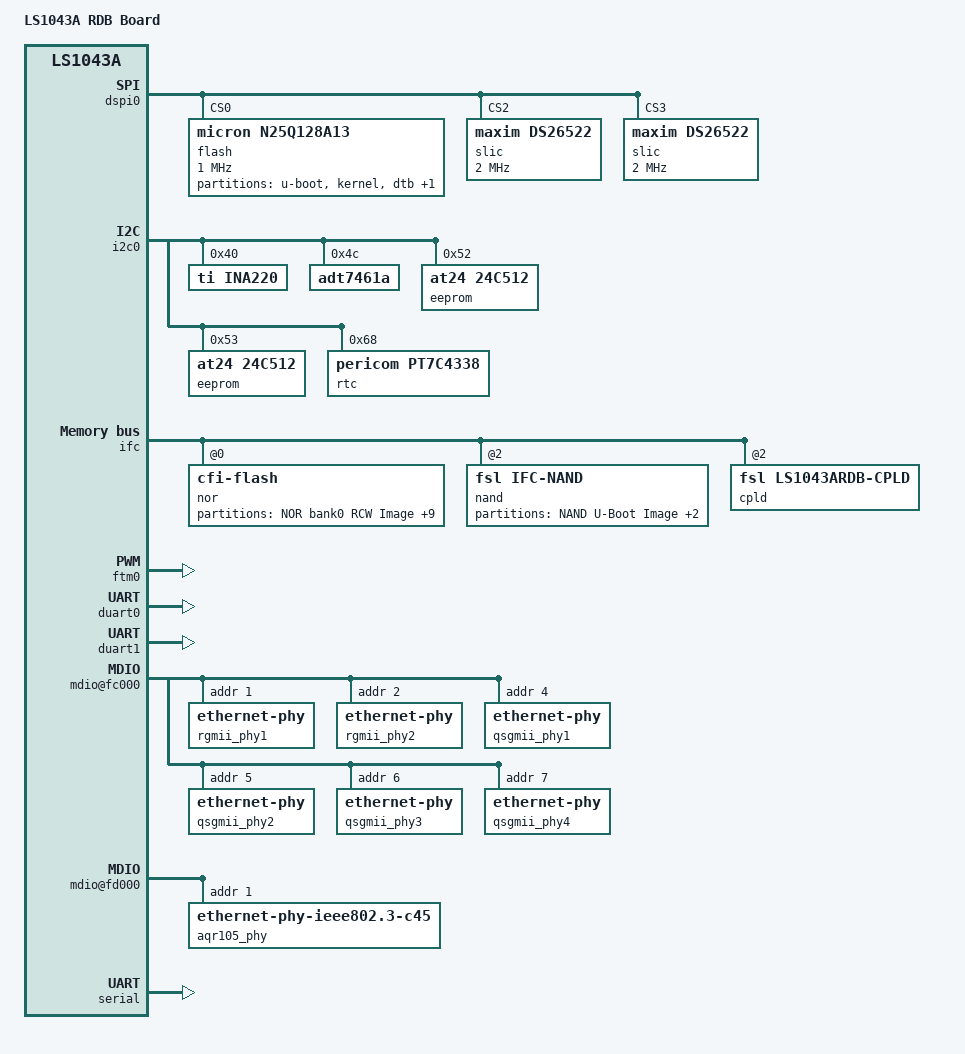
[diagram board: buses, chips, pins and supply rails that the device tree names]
/*
 * Device Tree Include file for Freescale Layerscape-1043A family SoC.
 *
 * Copyright (C) 2014-2015, Freescale Semiconductor
 *
 * Mingkai Hu <Mingkai.hu@freescale.com>
 *
 * This file is licensed under the terms of the GNU General Public
 * License version 2.  This program is licensed "as is" without any
 * warranty of any kind, whether express or implied.
 */

/dts-v1/;
/include/ "fsl-ls1043a-uefi.dtsi"

/ {
	model = "LS1043A RDB Board";

	aliases {
		ethernet0 = &fm1mac1;
		ethernet1 = &fm1mac2;
		ethernet2 = &fm1mac3;
		ethernet3 = &fm1mac4;
		ethernet4 = &fm1mac5;
		ethernet5 = &fm1mac6;
		ethernet6 = &fm1mac9;
		crypto = &crypto;
	};

};

&dspi0 {
	bus-num = <0>;
	status = "okay";

	flash@0 {
		#address-cells = <1>;
		#size-cells = <1>;
		compatible = "micron,n25q128a13";  /* 16MB */
		reg = <0>;
		spi-max-frequency = <1000000>; /* input clock */
		partition@u-boot {
			label = "u-boot";
			reg = <0x00000000 0x00100000>;
			read-only;
		};
		partition@kernel {
			label = "kernel";
			reg = <0x00100000 0x00500000>;
			read-only;
		};
		partition@dtb {
			label = "dtb";
			reg = <0x00600000 0x00100000>;
			read-only;
		};
		partition@fs {
			label = "file system";
			reg = <0x00700000 0x00900000>;
		};
	};

	slic@2 {
		compatible = "maxim,ds26522";
		reg = <2>;
		spi-max-frequency = <2000000>;
	};

	slic@3 {
		compatible = "maxim,ds26522";
		reg = <3>;
		spi-max-frequency = <2000000>;
	};
};

&i2c0 {
	status = "okay";
	ina220@40 {
		compatible = "ti,ina220";
		reg = <0x40>;
		shunt-resistor = <1000>;
	};
	adt7461a@4c {
		compatible = "adt7461a";
		reg = <0x4c>;
	};
	eeprom@56 {
		compatible = "at24,24c512";
		reg = <0x52>;
	};

	eeprom@57 {
		compatible = "at24,24c512";
		reg = <0x53>;
	};

	rtc@68 {
		compatible = "pericom,pt7c4338";
		reg = <0x68>;
	};
};

&ifc {
	status = "okay";
	#address-cells = <2>;
	#size-cells = <1>;
	/* NOR, NAND Flashes and FPGA on board */
	ranges = <0x0 0x0 0x0 0x60000000 0x08000000
		  0x2 0x0 0x0 0x7e800000 0x00010000
		  0x3 0x0 0x0 0x7fb00000 0x00000100>;

		nor@0,0 {
			compatible = "cfi-flash";
			#address-cells = <1>;
			#size-cells = <1>;
			reg = <0x0 0x0 0x8000000>;
			bank-width = <2>;
			device-width = <1>;

			partition@0 {
				/* 1MB for RCW and PBI Image */
				reg = <0x00000000 0x00100000>;
				label = "NOR bank0 RCW Image";
			};

			partition@100000 {
				/* 1MB for bank0 u-boot Image */
				reg = <0x00100000 0x00100000>;
				label = "NOR bank0 U-Boot Image";
			};

			partition@200000 {
				/* 1 MB for bank0 u-boot Env */
				reg = <0x00200000 0x00100000>;
				label = "NOR bank0 U-Boot Env";
			};

			partition@300000 {
				/* 1MB for FMan ucode */
				reg = <0x00300000 0x00100000>;
				label = "NOR bank0 FMan ucode";
			};

			partition@1100000 {
				/* 40MB for bank0 FIT Image */
				reg = <0x01100000 0x2800000>;
				label = "NOR bank0 FIT Image";
			};

			partition@4000000 {
				/* 1MB for bank4 RCW and PBI Image */
				reg = <0x04000000 0x100000>;
				label = "NOR bank4 RCW Image";
			};

			partition@4100000 {
				/* 1MB for bank4 u-boot Image */
				reg = <0x04100000 0x100000>;
				label = "NOR bank4 U-Boot Image";
			};

			partition@4200000 {
				/* 1 MB for bank4 u-boot Env */
				reg = <0x04200000 0x100000>;
				label = "NOR bank4 U-Boot Env";
			};

			partition@4300000 {
				/* 1 MB for bank4 FMan ucode */
				reg = <0x04300000 0x100000>;
				label = "NOR bank4 FMan ucode";
			};

			partition@5100000 {
				/* 40MB for bank4 FIT Image */
				reg = <0x05100000 0x2800000>;
				label = "NOR bank4 FIT Image";
			};
		};

		nand@1,0 {
			compatible = "fsl,ifc-nand";
			#address-cells = <1>;
			#size-cells = <1>;
			reg = <0x2 0x0 0x10000>;

			partition@0 {
				/* This location must not be altered  */
				/* 1MB for u-boot Bootloader Image */
				reg = <0x0 0x00100000>;
				label = "NAND U-Boot Image";
				read-only;
			};

			partition@140000 {
				/* 1MB for DTB Image */
				reg = <0x00140000 0x002000>;
				label = "NAND U-Boot Env";
			};

			partition@200000 {
				/* 20MB for FIT Image */
				reg = <0x00200000 0x01400000>;
				label = "NAND FIT Image";
			};
		};

		cpld: board-control@2,0 {
			compatible = "fsl,ls1043ardb-cpld", "simple-bus";
			#address-cells = <1>;
			#size-cells = <1>;
			reg = <0x2 0x0 0x0000100>;
			bank-width = <1>;
			device-width = <1>;
			ranges = <0 2 0 0x100>;
		};
};

&ftm0 {
	status = "okay";
};

&duart0 {
	status = "okay";
};

&duart1 {
	status = "okay";
};

&fman0 {
	ethernet@e0000 {
		phy-handle = <&qsgmii_phy1>;
		phy-connection-type = "qsgmii";
	};

	ethernet@e2000 {
		phy-handle = <&qsgmii_phy2>;
		phy-connection-type = "qsgmii";
	};

	ethernet@e4000 {
		phy-handle = <&rgmii_phy1>;
		phy-connection-type = "rgmii";
	};

	ethernet@e6000 {
		phy-handle = <&rgmii_phy2>;
		phy-connection-type = "rgmii";
	};

	ethernet@e8000 {
		phy-handle = <&qsgmii_phy3>;
		phy-connection-type = "qsgmii";
	};

	ethernet@ea000 {
		phy-handle = <&qsgmii_phy4>;
		phy-connection-type = "qsgmii";
	};

	ethernet@f0000 { /* 10GEC1 */
		phy-handle = <&aqr105_phy>;
		phy-connection-type = "xgmii";
	};

	mdio@fc000 {
		rgmii_phy1: ethernet-phy@1 {
			reg = <0x1>;
		};
		rgmii_phy2: ethernet-phy@2 {
			reg = <0x2>;
		};
		qsgmii_phy1: ethernet-phy@3 {
			reg = <0x4>;
		};
		qsgmii_phy2: ethernet-phy@4 {
			reg = <0x5>;
		};
		qsgmii_phy3: ethernet-phy@5 {
			reg = <0x6>;
		};
		qsgmii_phy4: ethernet-phy@6 {
			reg = <0x7>;
		};
	};

	mdio@fd000 {
		aqr105_phy: ethernet-phy@c {
			compatible = "ethernet-phy-ieee802.3-c45";
			reg = <0x1>;
		};
	};
};

&uqe {
	tdma: ucc@2000 {
		compatible = "fsl,ucc-tdm";
		rx-clock-name = "clk8";
		tx-clock-name = "clk9";
		fsl,rx-sync-clock = "rsync_pin";
		fsl,tx-sync-clock = "tsync_pin";
		fsl,tx-timeslot = <0xfffffffe>;
		fsl,rx-timeslot = <0xfffffffe>;
		fsl,tdm-framer-type = "e1";
		fsl,tdm-mode = "normal";
		fsl,tdm-id = <0>;
		fsl,siram-entry-id = <0>;
	};

	serial: ucc@2200 {
		compatible = "fsl,ucc_hdlc";
		rx-clock-name = "clk10";
		tx-clock-name = "clk11";
		fsl,rx-sync-clock = "rsync_pin";
		fsl,tx-sync-clock = "tsync_pin";
		fsl,tx-timeslot = <0xfffffffe>;
		fsl,rx-timeslot = <0xfffffffe>;
		fsl,tdm-framer-type = "e1";
		fsl,tdm-mode = "normal";
		fsl,tdm-id = <1>;
		fsl,siram-entry-id = <2>;
		fsl,tdm-interface;
	};
};
